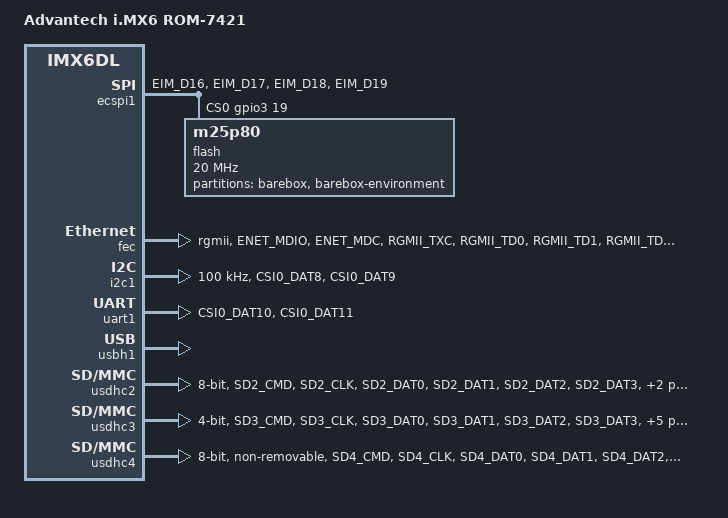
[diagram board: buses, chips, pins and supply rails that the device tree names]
/*
 * Copyright(c) 2018 Christoph Fritz <chf.fritz@googlemail.com>
 *
 * The code contained herein is licensed under the GNU General Public
 * License. You may obtain a copy of the GNU General Public License
 * Version 2 or later at the following locations:
 *
 * http://www.opensource.org/licenses/gpl-license.html
 * http://www.gnu.org/copyleft/gpl.html
 */

/dts-v1/;

#include <dt-bindings/gpio/gpio.h>
#include <arm/imx6dl.dtsi>
#include "imx6dl.dtsi"

/ {
	model = "Advantech i.MX6 ROM-7421";
	compatible = "advantech,imx6dl-rom-7421", "fsl,imx6dl";

	chosen {
		stdout-path = &uart1;

		environment-sd2 {			/* Micro SD */
			compatible = "barebox,environment";
			device-path = &usdhc2, "partname:barebox-environment";
			status = "disabled";
		};

		environment-sd4 {			/* eMMC */
			compatible = "barebox,environment";
			device-path = &usdhc4, "partname:barebox-environment";
			status = "disabled";
		};

		environment-spi {			/* spi nor */
			compatible = "barebox,environment";
			device-path = &ecspi1, "partname:barebox-environment";
			status = "disabled";
		};
	};
};

&ecspi1 {
	pinctrl-names = "default";
	pinctrl-0 = <&pinctrl_ecspi1>;
	fsl,spi-num-chipselects = <1>;
	cs-gpios = <&gpio3 19 0>;
	status = "okay";

	flash: m25p80@0 {
		compatible = "m25p80";
		spi-max-frequency = <20000000>;
		reg = <0>;
		status = "okay";

		#address-cells = <1>;
		#size-cells = <1>;

		partition@0 {
			label = "barebox";
			reg = <0x0 0xe0000>;
		};

		partition@e0000 {
			label = "barebox-environment";
			reg = <0xe0000 0x20000>;
		};
	};
};

&fec {
	pinctrl-names = "default";
	pinctrl-0 = <&pinctrl_enet1>;
	phy-mode = "rgmii";
	phy-reset-gpios = <&gpio1 25 GPIO_ACTIVE_LOW>;
	fsl,magic-packet;
	status = "okay";
};

&i2c1 {
	pinctrl-names = "default";
	pinctrl-0 = <&pinctrl_i2c1>;
	clock-frequency = <100000>;
	status = "okay";
};

&uart1 {
	pinctrl-names = "default";
	pinctrl-0 = <&pinctrl_uart1>;
	status = "okay";
};

&usbh1 {
	status = "okay";
};

&usdhc2 {					/* Micro SD */
	pinctrl-names = "default";
	pinctrl-0 = <&pinctrl_usdhc2>;
	bus-width = <8>;
	cd-gpios = <&gpio2 0 0>;
	status = "okay";

	#address-cells = <1>;
	#size-cells = <1>;

	partition@0 {
		label = "barebox";
		reg = <0x0 0xe0000>;
	};

	partition@e0000 {
		label = "barebox-environment";
		reg = <0xe0000 0x20000>;
	};
};

&usdhc3 {					/* SD Card */
	pinctrl-names = "default";
	pinctrl-0 = <&pinctrl_usdhc3>;
	bus-width = <4>;
	cd-gpios = <&gpio2 1 0>;
	en-gpios = <&gpio2 2 0>;
	wp-gpios = <&gpio2 3 0>;
	status = "okay";
};

&usdhc4 {					/* eMMC */
	pinctrl-names = "default";
	pinctrl-0 = <&pinctrl_usdhc4>;
	bus-width = <8>;
	non-removable;
	no-1-8-v;
	status = "okay";

	#address-cells = <1>;
	#size-cells = <1>;

	partition@0 {
		label = "barebox";
		reg = <0x0 0xe0000>;
	};

	partition@e0000 {
		label = "barebox-environment";
		reg = <0xe0000 0x20000>;
	};
};

&iomuxc {
	pinctrl-names = "default";
        pinctrl-0 = <&pinctrl_hog>;

	pinctrl_hog: hoggrp {
		fsl,pins = <
			/* custom watchdog controls disabled */
			MX6QDL_PAD_NANDF_RB0__GPIO6_IO10        0x130b0
			MX6QDL_PAD_GPIO_9__GPIO1_IO09           0x130b0
			MX6QDL_PAD_GPIO_17__GPIO7_IO12          0x130b0

		>;
        };

	pinctrl_ecspi1: ecspi1grp {
		fsl,pins = <
			MX6QDL_PAD_EIM_D16__ECSPI1_SCLK		0x100b1
			MX6QDL_PAD_EIM_D17__ECSPI1_MISO		0x100b1
			MX6QDL_PAD_EIM_D18__ECSPI1_MOSI		0x100b1
			MX6QDL_PAD_EIM_D19__GPIO3_IO19		0x80000000
		>;
	};

	pinctrl_enet1: enet1grp {
		fsl,pins = <
			MX6QDL_PAD_ENET_MDIO__ENET_MDIO		0x1b0b0
			MX6QDL_PAD_ENET_MDC__ENET_MDC		0x1b0b0
			MX6QDL_PAD_RGMII_TXC__RGMII_TXC		0x1b030
			MX6QDL_PAD_RGMII_TD0__RGMII_TD0		0x1b030
			MX6QDL_PAD_RGMII_TD1__RGMII_TD1		0x1b030
			MX6QDL_PAD_RGMII_TD2__RGMII_TD2		0x1b030
			MX6QDL_PAD_RGMII_TD3__RGMII_TD3		0x1b030
			MX6QDL_PAD_RGMII_TX_CTL__RGMII_TX_CTL	0x1b030
			MX6QDL_PAD_ENET_REF_CLK__ENET_TX_CLK	0x0A0B1
			MX6QDL_PAD_RGMII_RXC__RGMII_RXC		0x1b030
			MX6QDL_PAD_RGMII_RD0__RGMII_RD0		0x1b030
			MX6QDL_PAD_RGMII_RD1__RGMII_RD1		0x1b030
			MX6QDL_PAD_RGMII_RD2__RGMII_RD2		0x1b030
			MX6QDL_PAD_RGMII_RD3__RGMII_RD3		0x1b030
			MX6QDL_PAD_RGMII_RX_CTL__RGMII_RX_CTL	0x1b030
			MX6QDL_PAD_ENET_CRS_DV__GPIO1_IO25	0x80000000
		>;
	};

	pinctrl_i2c1: i2c1grp {
		fsl,pins = <
			MX6QDL_PAD_CSI0_DAT8__I2C1_SDA		0x4001b8b1
			MX6QDL_PAD_CSI0_DAT9__I2C1_SCL		0x4001b8b1
		>;
	};

	pinctrl_uart1: uart1grp {
		fsl,pins = <
			MX6QDL_PAD_CSI0_DAT10__UART1_TX_DATA	0x1b0b1
			MX6QDL_PAD_CSI0_DAT11__UART1_RX_DATA	0x1b0b1
		>;
	};

	pinctrl_usdhc2: usdhc2grp {
		fsl,pins = <
			MX6QDL_PAD_SD2_CMD__SD2_CMD		0x17059
			MX6QDL_PAD_SD2_CLK__SD2_CLK		0x10059
			MX6QDL_PAD_SD2_DAT0__SD2_DATA0		0x17059
			MX6QDL_PAD_SD2_DAT1__SD2_DATA1		0x17059
			MX6QDL_PAD_SD2_DAT2__SD2_DATA2		0x17059
			MX6QDL_PAD_SD2_DAT3__SD2_DATA3		0x17059
			MX6QDL_PAD_NANDF_D0__GPIO2_IO00		0x1b0b0
		>;
	};

	pinctrl_usdhc3: usdhc3grp {
		fsl,pins = <
			MX6QDL_PAD_SD3_CMD__SD3_CMD		0x17059
			MX6QDL_PAD_SD3_CLK__SD3_CLK		0x10059
			MX6QDL_PAD_SD3_DAT0__SD3_DATA0		0x17059
			MX6QDL_PAD_SD3_DAT1__SD3_DATA1		0x17059
			MX6QDL_PAD_SD3_DAT2__SD3_DATA2		0x17059
			MX6QDL_PAD_SD3_DAT3__SD3_DATA3		0x17059
			MX6QDL_PAD_NANDF_D1__GPIO2_IO01		0x1b0b0
			MX6QDL_PAD_NANDF_D2__GPIO2_IO02		0x1b0b0
			MX6QDL_PAD_NANDF_D3__GPIO2_IO03		0x1b0b0
		>;
	};

	pinctrl_usdhc4: usdhc4grp {
		fsl,pins = <
			MX6QDL_PAD_SD4_CMD__SD4_CMD		0x17059
			MX6QDL_PAD_SD4_CLK__SD4_CLK		0x10059
			MX6QDL_PAD_SD4_DAT0__SD4_DATA0		0x17059
			MX6QDL_PAD_SD4_DAT1__SD4_DATA1		0x17059
			MX6QDL_PAD_SD4_DAT2__SD4_DATA2		0x17059
			MX6QDL_PAD_SD4_DAT3__SD4_DATA3		0x17059
			MX6QDL_PAD_SD4_DAT4__SD4_DATA4		0x17059
			MX6QDL_PAD_SD4_DAT5__SD4_DATA5		0x17059
			MX6QDL_PAD_SD4_DAT6__SD4_DATA6		0x17059
			MX6QDL_PAD_SD4_DAT7__SD4_DATA7		0x17059
		>;
	};
};
